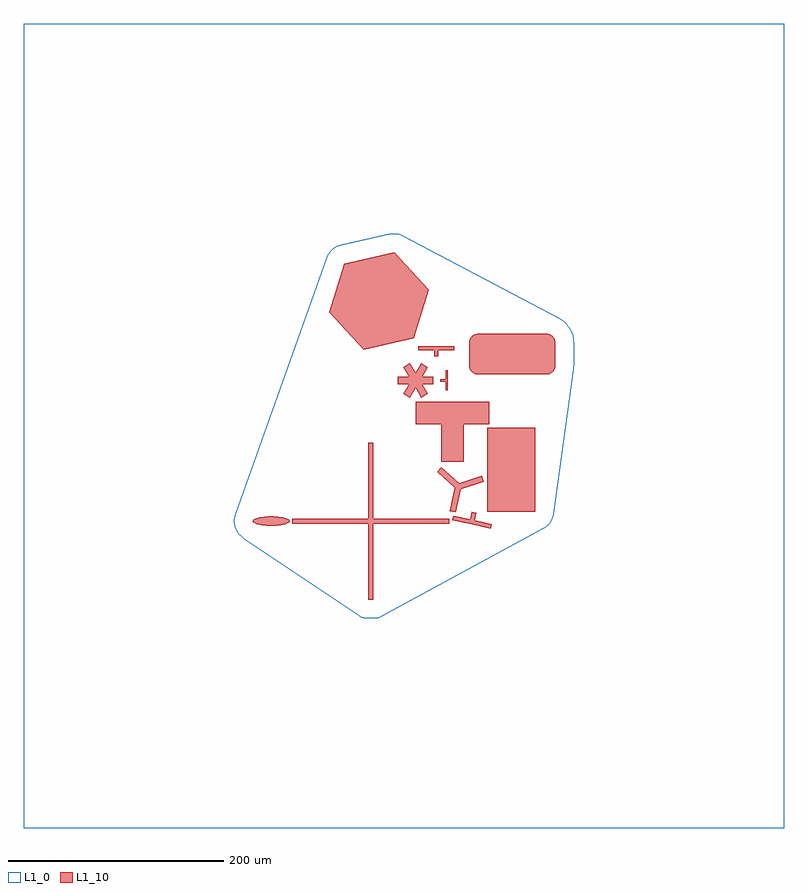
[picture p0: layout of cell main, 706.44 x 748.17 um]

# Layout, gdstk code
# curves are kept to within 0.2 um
import gdstk
lib = gdstk.Library(unit=1e-6, precision=1e-09)
def R(c, l, rs):  # rectangles x0, y0, x1, y1
    for r in rs: c.add(gdstk.rectangle(r[:2], r[2:], *l))
def P(c, l, *ps):  # polygons
    for p in ps: c.add(gdstk.Polygon(p, *l))
L1_0 = (1, 0)
L1_10 = (1, 10)

main = lib.new_cell('main')
P(main, L1_0, [(364.688,280.13),(-341.754,280.13),(-341.754,-183.249),(-146.101,-183.249),(-145.927,-179.823),(-144.993,-176.135),(-59.922,62.731),(-58.465,65.805),(-55.208,69.719),(-52.449,71.71),(-49.349,73.111),(-1.489,84.06),(3.624,84.426),(8.613,83.245),(157.25,4.859),(159.263,3.468),(162.305,0.71),(165.681,-3.842),(167.437,-7.554),(168.184,-9.884),(168.814,-13.051),(169.036,-16.321),(168.836,-41.154),(150.095,-176.071),(149.368,-179.152),(147.241,-183.387),(144.025,-186.868),(141.396,-188.631),(-9.082,-270.333),(-12.185,-271.637),(-15.485,-272.302),(-23.369,-272.304),(-28.215,-271.084),(-31.155,-269.503),(-138.716,-197.107),(-141.911,-193.994),(-144.215,-190.481),(-145.434,-187.21),(-146.101,-183.249),(-341.754,-183.249),(-341.754,-468.039),(364.688,-468.039)])
R(main, L1_10, [(88.884,-173.739,133.311,-95.591)])
P(main, L1_10, [(27.338,-67.535),(22.174,-58.591),(17.01,-67.535),(10.966,-64.046),(16.13,-55.101),(5.802,-55.101),(5.802,-48.122),(16.13,-48.122),(10.966,-39.177),(17.01,-35.687),(22.174,-44.632),(27.338,-35.687),(33.383,-39.177),(28.219,-48.122),(38.547,-48.122),(38.547,-55.101),(28.219,-55.101),(33.383,-64.046)],
  [(45.166,-50.611),(50.14,-50.611),(50.14,-42.268),(52.14,-42.268),(52.14,-50.611),(52.14,-52.611),(52.14,-60.955),(50.14,-60.955),(50.14,-52.611),(45.166,-52.611)],
  [(39.393,-29.238),(39.393,-23.57),(24.504,-23.57),(24.504,-19.867),(39.393,-19.867),(43.096,-19.867),(57.985,-19.867),(57.985,-23.57),(43.096,-23.57),(43.096,-29.238)],
  [(34.456,32.752),(20.43,-12.521),(-25.791,-23.011),(-57.985,11.773),(-43.959,57.046),(2.262,67.535)],
  [(72.178,-15.538),(72.747,-13.262),(74.48,-10.67),(76.364,-9.272),(79.348,-8.367),(144.098,-8.329),(146.418,-8.673),(148.538,-9.676),(150.276,-11.251),(151.147,-12.553),(151.937,-14.762),(152.09,-38.039),(151.746,-40.359),(150.743,-42.479),(149.168,-44.217),(147.157,-45.423),(144.881,-45.993),(80.131,-46.031),(77.811,-45.687),(75.691,-44.685),(74.48,-43.691),(73.083,-41.807),(72.293,-39.598)],
  [(54.04,-173.125),(58.76,-151.407),(42.312,-136.461),(46.18,-132.204),(62.628,-147.15),(83.796,-140.379),(85.549,-145.858),(64.381,-152.629),(59.661,-174.346)],
  [(46.073,-127.298),(46.073,-92.243),(22.432,-92.243),(22.432,-71.334),(46.073,-71.334),(66.981,-71.334),(90.623,-71.334),(90.623,-92.243),(66.981,-92.243),(66.981,-127.298)],
  [(78.755,-174.426),(77.182,-181.663),(93.082,-185.118),(92.155,-189.386),(76.255,-185.931),(71.987,-185.003),(56.087,-181.548),(57.014,-177.28),(72.915,-180.735),(74.487,-173.498)],
  [(-17.168,-109.34),(-17.168,-180.124),(53.616,-180.124),(53.616,-184.657),(-17.168,-184.657),(-17.168,-255.441),(-21.7,-255.441),(-21.7,-184.657),(-92.484,-184.657),(-92.484,-180.124),(-21.7,-180.124),(-21.7,-109.34)],
  [(-129.03,-181.821),(-126.865,-180.207),(-122.424,-178.926),(-116.383,-178.172),(-109.662,-178.06),(-105.309,-178.355),(-99.709,-179.302),(-95.967,-180.719),(-95.241,-181.26),(-94.653,-182.391),(-95.241,-183.521),(-95.967,-184.062),(-98.22,-185.049),(-101.407,-185.856),(-107.448,-186.609),(-114.169,-186.721),(-120.547,-186.173),(-125.61,-185.049),(-128.589,-183.521),(-129.178,-182.391)])

lib.write_gds('main.gds')
